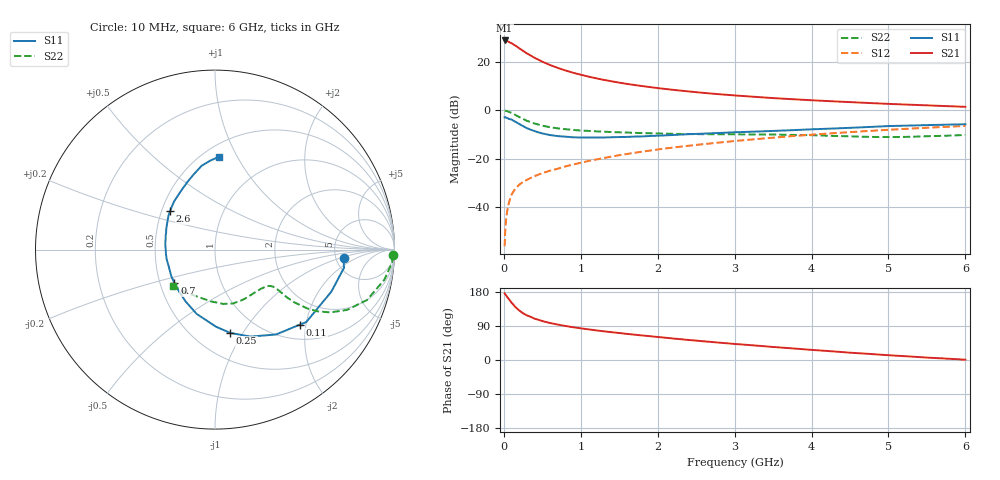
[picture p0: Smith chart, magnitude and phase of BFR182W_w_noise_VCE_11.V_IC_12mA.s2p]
! Infineon Technologies  Discrete & RF Semiconductors
! BFR182W
! VCE =  11. V,  IC =  12 mA
! Common Emitter S-Parameters:  Jan 2017
# GHz  S  MA  R  50
!  f  S11  S21  S12  S22
! GHz  MAG  ANG  MAG  ANG  MAG  ANG  MAG  ANG
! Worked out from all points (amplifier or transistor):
!   77 points, 10 MHz to 6 GHz, reference 50 ohm
!   highest |S21| = 29.1 dB at 10 MHz (marker M1)
!   |S21| within 3 dB of that: start of sweep to 189.1 MHz
!   unconditionally stable (mu >= 1): 1.023 GHz to 2.621 GHz
!   at 130 MHz: K = 0.31, MSG = 30.4 dB, |S12| = -33.5 dB
!   at 2.2 GHz: K = 1.02, MAG = 11.1 dB, |S12| = -15.4 dB
!   at 6 GHz: K = 0.86, MSG = 4.0 dB, |S12| = -6.4 dB
!   lowest NFmin = 1.14 dB at 450 MHz
!   S11 on the Smith chart (normalised r, x): 10 MHz: 5.84, -1.18; 110 MHz: 1.33, -1.86; 250 MHz: 0.74, -0.88; 700 MHz: 0.59, -0.24; 2.6 GHz: 0.55, +0.27; 6 GHz: 0.60, +0.84
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0.01  0.7176 -3.9  28.62 175.8  0.0015 80.4  0.9895 -1.9
0.02  0.726 -8.0  28.59 173.2  0.0036 85.0  0.9892 -4.2
0.05  0.6892 -19.9  27.5 164.5  0.0092 79.5  0.9591 -10.0
0.1  0.6493 -38.4  25.18 151.1  0.0177 75.2  0.8918 -18.4
0.11  0.6323 -41.3  24.54 149.0  0.0188 73.3  0.8742 -19.5
0.15  0.5824 -54.3  22.38 139.7  0.0236 67.4  0.8078 -24.6
0.2  0.5235 -67.8  19.71 130.7  0.0285 66.0  0.731 -28.6
0.25  0.4716 -79.7  17.41 123.3  0.0326 62.2  0.6656 -31.1
0.3  0.4287 -89.5  15.39 117.7  0.0361 61.9  0.6099 -32.5
0.4  0.3727 -105.9  12.45 109.0  0.043 61.4  0.5333 -33.6
0.5  0.3326 -119.3  10.34 102.8  0.0497 62.7  0.4824 -33.6
0.6  0.308 -130.5  8.839 97.7  0.0558 63.7  0.4483 -33.1
0.7  0.293 -140.4  7.684 93.5  0.0613 64.6  0.4242 -32.7
0.9  0.2766 -156.2  6.092 86.5  0.075 65.8  0.3936 -32.5
1.1  0.2747 -169.2  5.064 80.9  0.0889 66.8  0.3758 -33.0
1.5  0.2798 171.7  3.791 71.2  0.1172 67.3  0.3509 -36.0
2.1  0.3034 151.7  2.803 58.8  0.1616 65.4  0.3293 -44.7
2.6  0.3297 139.3  2.318 49.3  0.1996 62.9  0.3208 -54.4
3.1  0.3558 128.4  2.003 40.9  0.239 59.7  0.3178 -64.1
4.1  0.4104 111.3  1.601 25.3  0.3213 52.0  0.3017 -83.9
5.1  0.4775 97.8  1.351 11.4  0.4041 43.0  0.2802 -112.8
6  0.5169 87.7  1.19 0.8  0.4767 34.2  0.3097 -139.7
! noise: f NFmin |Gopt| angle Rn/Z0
0.45  1.14  0.05  71  0.15
0.9  1.22  0.06  102  0.15
1.9  1.71  0.21  -156  0.14
2.4  1.97  0.2  -143  0.21
